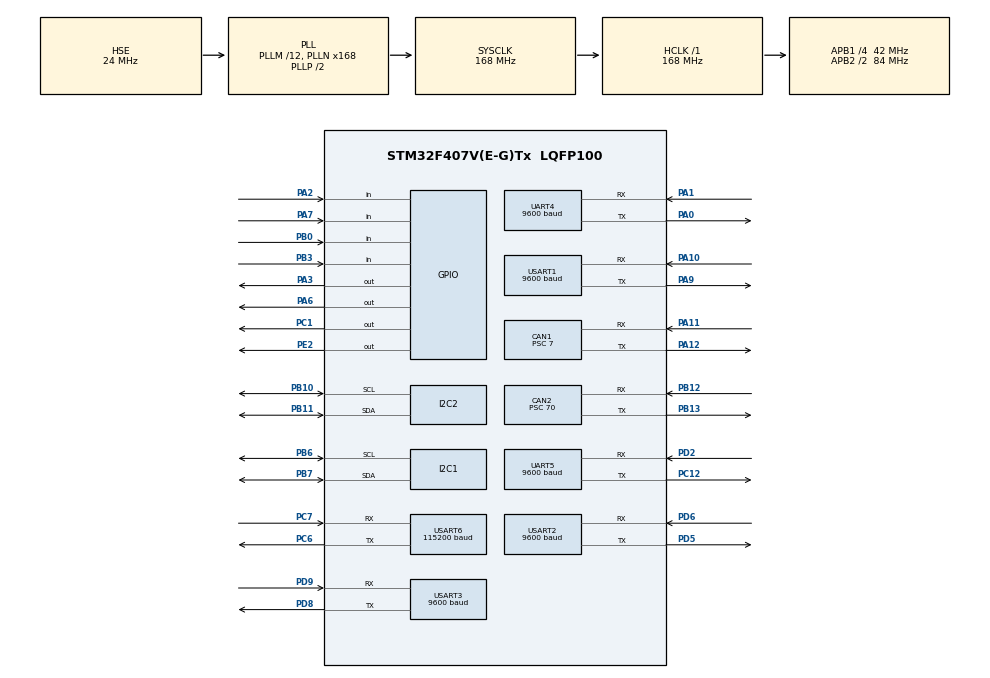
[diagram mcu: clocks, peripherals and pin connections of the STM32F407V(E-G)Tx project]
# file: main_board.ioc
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CAN1.BS1=CAN_BS1_3TQ
CAN1.BS2=CAN_BS2_2TQ
CAN1.CalculateBaudRate=999999
CAN1.CalculateTimeBit=1000
CAN1.CalculateTimeQuantum=166.66666666666669
CAN1.Prescaler=7
CAN2.BS1=CAN_BS1_3TQ
CAN2.BS2=CAN_BS2_2TQ
CAN2.CalculateBaudRate=100000
CAN2.CalculateTimeBit=10000
CAN2.CalculateTimeQuantum=1666.6666666666667
CAN2.Prescaler=70
Dma.Request0=USART2_RX
Dma.Request1=UART4_RX
Dma.Request2=UART5_RX
Dma.Request3=USART6_RX
Dma.Request4=USART3_RX
Dma.UART4_RX.1.Direction=DMA_PERIPH_TO_MEMORY
Dma.UART4_RX.1.FIFOMode=DMA_FIFOMODE_DISABLE
Dma.UART4_RX.1.Instance=DMA1_Stream2
Dma.UART4_RX.1.MemDataAlignment=DMA_MDATAALIGN_BYTE
Dma.UART4_RX.1.MemInc=DMA_MINC_ENABLE
Dma.UART4_RX.1.Mode=DMA_NORMAL
Dma.UART4_RX.1.PeriphDataAlignment=DMA_PDATAALIGN_BYTE
Dma.UART4_RX.1.PeriphInc=DMA_PINC_DISABLE
Dma.UART4_RX.1.Priority=DMA_PRIORITY_LOW
Dma.UART5_RX.2.Direction=DMA_PERIPH_TO_MEMORY
Dma.UART5_RX.2.FIFOMode=DMA_FIFOMODE_DISABLE
Dma.UART5_RX.2.Instance=DMA1_Stream0
Dma.UART5_RX.2.MemDataAlignment=DMA_MDATAALIGN_BYTE
Dma.UART5_RX.2.MemInc=DMA_MINC_ENABLE
Dma.UART5_RX.2.Mode=DMA_NORMAL
Dma.UART5_RX.2.PeriphDataAlignment=DMA_PDATAALIGN_BYTE
Dma.UART5_RX.2.PeriphInc=DMA_PINC_DISABLE
Dma.UART5_RX.2.Priority=DMA_PRIORITY_LOW
Dma.USART2_RX.0.Direction=DMA_PERIPH_TO_MEMORY
Dma.USART2_RX.0.FIFOMode=DMA_FIFOMODE_DISABLE
Dma.USART2_RX.0.Instance=DMA1_Stream5
Dma.USART2_RX.0.MemDataAlignment=DMA_MDATAALIGN_BYTE
Dma.USART2_RX.0.MemInc=DMA_MINC_ENABLE
Dma.USART2_RX.0.Mode=DMA_NORMAL
Dma.USART2_RX.0.PeriphDataAlignment=DMA_PDATAALIGN_BYTE
Dma.USART2_RX.0.PeriphInc=DMA_PINC_DISABLE
Dma.USART2_RX.0.Priority=DMA_PRIORITY_LOW
Dma.USART3_RX.4.Direction=DMA_PERIPH_TO_MEMORY
Dma.USART3_RX.4.FIFOMode=DMA_FIFOMODE_DISABLE
Dma.USART3_RX.4.Instance=DMA1_Stream1
Dma.USART3_RX.4.MemDataAlignment=DMA_MDATAALIGN_BYTE
Dma.USART3_RX.4.MemInc=DMA_MINC_ENABLE
Dma.USART3_RX.4.Mode=DMA_NORMAL
Dma.USART3_RX.4.PeriphDataAlignment=DMA_PDATAALIGN_BYTE
Dma.USART3_RX.4.PeriphInc=DMA_PINC_DISABLE
Dma.USART3_RX.4.Priority=DMA_PRIORITY_LOW
Dma.USART6_RX.3.Direction=DMA_PERIPH_TO_MEMORY
Dma.USART6_RX.3.FIFOMode=DMA_FIFOMODE_DISABLE
Dma.USART6_RX.3.Instance=DMA2_Stream1
Dma.USART6_RX.3.MemDataAlignment=DMA_MDATAALIGN_BYTE
Dma.USART6_RX.3.MemInc=DMA_MINC_ENABLE
Dma.USART6_RX.3.Mode=DMA_NORMAL
Dma.USART6_RX.3.PeriphDataAlignment=DMA_PDATAALIGN_BYTE
Dma.USART6_RX.3.PeriphInc=DMA_PINC_DISABLE
Dma.USART6_RX.3.Priority=DMA_PRIORITY_LOW
FREERTOS.Tasks01=defaultTask,24,128,StartDefaultTask,Default,NULL,Dynamic,NULL,NULL
Mcu.Family=STM32F4
Mcu.Name=STM32F407V(E-G)Tx
Mcu.Package=LQFP100
NVIC.CAN1_RX0_IRQn=true\:5\:0\:false\:false\:true\:true\:true\:true\:true
NVIC.CAN1_RX1_IRQn=true\:5\:0\:false\:false\:true\:true\:true\:true\:true
NVIC.CAN2_RX0_IRQn=true\:5\:0\:false\:false\:true\:true\:true\:true\:true
NVIC.CAN2_RX1_IRQn=true\:5\:0\:false\:false\:true\:true\:true\:true\:true
NVIC.DMA1_Stream0_IRQn=true\:5\:0\:false\:false\:true\:true\:false\:true\:true
NVIC.DMA1_Stream1_IRQn=true\:5\:0\:false\:false\:true\:true\:false\:true\:true
NVIC.DMA1_Stream2_IRQn=true\:5\:0\:false\:false\:true\:true\:false\:true\:true
NVIC.DMA1_Stream5_IRQn=true\:5\:0\:false\:false\:true\:true\:false\:true\:true
NVIC.DMA2_Stream1_IRQn=true\:5\:0\:false\:false\:true\:true\:false\:true\:true
NVIC.PriorityGroup=NVIC_PRIORITYGROUP_4
NVIC.TIM2_IRQn=true\:15\:0\:false\:false\:true\:false\:false\:true\:true
NVIC.TIM5_IRQn=true\:5\:0\:false\:false\:true\:true\:true\:true\:true
NVIC.TimeBase=TIM2_IRQn
NVIC.TimeBaseIP=TIM2
NVIC.UART4_IRQn=true\:5\:0\:true\:false\:true\:true\:true\:true\:true
NVIC.UART5_IRQn=true\:5\:0\:false\:false\:true\:true\:true\:true\:true
NVIC.USART2_IRQn=true\:5\:0\:false\:false\:true\:true\:true\:true\:true
NVIC.USART3_IRQn=true\:5\:0\:false\:false\:true\:true\:true\:true\:true
NVIC.USART6_IRQn=true\:5\:0\:false\:false\:true\:true\:true\:true\:true
PA0-WKUP.Mode=Asynchronous
PA0-WKUP.Signal=UART4_TX
PA1.Mode=Asynchronous
PA1.Signal=UART4_RX
PA10.Mode=Asynchronous
PA10.Signal=USART1_RX
PA11.Mode=CAN_Activate
PA11.Signal=CAN1_RX
PA12.Mode=CAN_Activate
PA12.Signal=CAN1_TX
PA13.Mode=Serial_Wire
PA13.Signal=SYS_JTMS-SWDIO
PA14.Mode=Serial_Wire
PA14.Signal=SYS_JTCK-SWCLK
PA2.Signal=GPIO_Input
PA3.Signal=GPIO_Output
PA6.Signal=GPIO_Output
PA7.Signal=GPIO_Input
PA9.Mode=Asynchronous
PA9.Signal=USART1_TX
PB0.Signal=GPIO_Input
PB10.Mode=I2C
PB10.Signal=I2C2_SCL
PB11.Mode=I2C
PB11.Signal=I2C2_SDA
PB12.Mode=CAN_Activate
PB12.Signal=CAN2_RX
PB13.Mode=CAN_Activate
PB13.Signal=CAN2_TX
PB3.Signal=GPIO_Input
PB6.Mode=I2C
PB6.Signal=I2C1_SCL
PB7.Mode=I2C
PB7.Signal=I2C1_SDA
PC1.PinState=GPIO_PIN_SET
PC1.Signal=GPIO_Output
PC12.Mode=Asynchronous
PC12.Signal=UART5_TX
PC14-OSC32_IN.Mode=LSE-External-Oscillator
PC14-OSC32_IN.Signal=RCC_OSC32_IN
PC15-OSC32_OUT.Mode=LSE-External-Oscillator
PC15-OSC32_OUT.Signal=RCC_OSC32_OUT
PC6.Mode=Asynchronous
PC6.Signal=USART6_TX
PC7.Mode=Asynchronous
PC7.Signal=USART6_RX
PD2.Mode=Asynchronous
PD2.Signal=UART5_RX
PD5.Mode=Asynchronous
PD5.Signal=USART2_TX
PD6.Mode=Asynchronous
PD6.Signal=USART2_RX
PD8.Mode=Asynchronous
PD8.Signal=USART3_TX
PD9.Mode=Asynchronous
PD9.Signal=USART3_RX
PE2.Signal=GPIO_Output
PH0-OSC_IN.Mode=HSE-External-Oscillator
PH0-OSC_IN.Signal=RCC_OSC_IN
PH1-OSC_OUT.Mode=HSE-External-Oscillator
PH1-OSC_OUT.Signal=RCC_OSC_OUT
ProjectManager.HeapSize=0x200
ProjectManager.StackSize=0x400
ProjectManager.TargetToolchain=MDK-ARM V5
RCC.48MHZClocksFreq_Value=84000000
RCC.AHBFreq_Value=168000000
RCC.APB1CLKDivider=RCC_HCLK_DIV4
RCC.APB1Freq_Value=42000000
RCC.APB1TimFreq_Value=84000000
RCC.APB2CLKDivider=RCC_HCLK_DIV2
RCC.APB2Freq_Value=84000000
RCC.APB2TimFreq_Value=168000000
RCC.CortexFreq_Value=168000000
RCC.HCLKFreq_Value=168000000
RCC.HSE_VALUE=24000000
RCC.HSI_VALUE=16000000
RCC.PLLM=12
RCC.PLLN=168
RCC.PLLSourceVirtual=RCC_PLLSOURCE_HSE
RCC.SYSCLKFreq_VALUE=168000000
RCC.SYSCLKSource=RCC_SYSCLKSOURCE_PLLCLK
RCC.VCOOutputFreq_Value=336000000
TIM5.Period=10
TIM5.Prescaler=84
UART4.BaudRate=9600
UART4.VirtualMode=Asynchronous
UART5.BaudRate=9600
UART5.VirtualMode=Asynchronous
USART1.BaudRate=9600
USART1.VirtualMode=VM_ASYNC
USART2.BaudRate=9600
USART2.VirtualMode=VM_ASYNC
USART3.BaudRate=9600
USART3.VirtualMode=VM_ASYNC
USART6.BaudRate=115200
USART6.VirtualMode=VM_ASYNC
VP_FREERTOS_VS_CMSIS_V2.Mode=CMSIS_V2
VP_SYS_VS_tim2.Mode=TIM2
VP_TIM5_VS_ClockSourceINT.Mode=Internal
board=custom

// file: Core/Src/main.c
/* USER CODE BEGIN Header */
/**
  ******************************************************************************
  * @file           : main.c
  * @brief          : Main program body
  ******************************************************************************
  * @attention
  *
  * Copyright (c) 2025 STMicroelectronics.
  * All rights reserved.
  *
  * This software is licensed under terms that can be found in the LICENSE file
  * in the root directory of this software component.
  * If no LICENSE file comes with this software, it is provided AS-IS.
  *
  ******************************************************************************
  */
/* USER CODE END Header */
#include "main.h"
#include "cmsis_os.h"
#include "can.h"
#include "dma.h"
#include "i2c.h"
#include "tim.h"
#include "usart.h"
#include "gpio.h"

/* USER CODE BEGIN Includes */
#include "jy901.h"
#include "ms5837_uart.h"
#include "sht30.h"
#include "stdio.h"
#include "serial.h"
#include "FreeRTOS.h"
#include "task.h"
#include "math.h"
#include "event_groups.h"
/* USER CODE END Includes */

void SystemClock_Config(void);
void MX_FREERTOS_Init(void);

/* USER CODE BEGIN 0 */

void can_motor_init();
void can_send(uint16_t id,uint8_t*data,int len);

int timer=0;
void timer_start()
{
	HAL_TIM_Base_Start_IT(&htim5);
	timer=0;
}

float timer_getperiod()
{
	//HAL_TIM_Base_Stop_IT(&htim5);
return (float)timer*10;//us
}
typedef struct{
int head;
int arm;
float stick_lx;
float stick_ly;
float stick_rx;
float stick_ry;
float cam;
float light;

}controler;

void can2_send(uint16_t id,uint8_t*data,int len);
void can2_init();
void can2_send_long(uint16_t id,uint8_t*data,int len);
EventGroupHandle_t xEventGroup;
#define BIT_UART2_RX_DONE   (EventBits_t) 0x00000001  // ???0: ??1????
#define BIT_UART4_RX_DONE   (EventBits_t) 0x00000002  // ???1: ??2????
#define ALL_BITS            (BIT_UART2_RX_DONE | BIT_UART4_RX_DONE)
int uart4itflag=0;
#define uart4_buffer_size 256
uint8_t sona4buffer[uart4_buffer_size];
	uint8_t sona4datalen;
uint8_t uart4_buffer[uart4_buffer_size]={0};
float time4=0;
float sona4len=0;
int test_count=0;
int uart4_flag=0;
uint8_t uart4_data[uart4_buffer_size];

int can2_flag=0;
typedef struct{
	int head;
float roll;
	float pitch;
	float yaw;
}jy901_att;
jy901_att att={.head=0xfd};
typedef struct
{
  int head;
  float roll;
  float pitch;
  float yaw;
  float current;
  float len;
} upline_pack;
upline_pack up = {.head = 0xfd};
void showarray(uint8_t*array,int len)
{
	for(int i=0;i<len;i++)
		printf("%02X",array[i]);
	printf("\n");
}

typedef struct
{
  int head;
  float current;
  float gain;
} cable_control;
cable_control cable_con = {.head = 0xf1, .current = 4.0};
typedef struct
{
	uint16_t id;
	uint8_t data[8];
	uint8_t flag;
}c620_rawdata;
typedef struct
{
	uint16_t id;
	float angle;
	float rate;
	float i;
	float tempature;
	uint8_t flag;
}c620_msg;
c620_rawdata motor_data;
c620_msg motor_msg;  //大
c620_msg motor_msg1; //小
float zero_angle=0;
float last_angle=0;
int first_flag=0;
float round_count=0;
int send_count=0;
void control_task()
{
	HAL_UART_Receive_DMA(&huart4, uart4_buffer, uart4_buffer_size);
 __HAL_UART_ENABLE_IT(&huart4, UART_IT_IDLE);

	while(1)
	{

		if(uart4_flag==1)
		{
		int i=0;
		for(;i<80;i++)
			{
		uint8_t ch;
				ch=uart4_data[i];
				if(ch==0xfb)
				{
					can2_send_long(0x400,uart4_data+i,sizeof(float)*10);
					break;
				}
				if(ch==0xfe)
				{
					can2_send_long(0x410,uart4_data+i,sizeof(int)*2);
					break;
				}
				if(ch==0xf1)
				{
				uint8_t*p=(uint8_t*)&cable_con;
					for(int j=0;j<3*4;j++)
					{
					p[j]=uart4_data[i+j];
					}
				}

			}
				//can2_send_long(0x400,uart4_data+i,sizeof(float)*10);
			uart4_flag=0;
		}
		float cable_len;
		float r=1;
		float angle=motor_msg1.angle-zero_angle;
		if(angle<0)
		{
			angle+=360;
		}
		cable_len=r*(angle+(round_count*2*3.14));
		if(send_count>50)
		{
			up.roll=0;
			up.pitch=0;
			up.yaw=0;
			up.current=cable_con.current;
			up.len=cable_len;
			HAL_UART_Transmit(&huart4,(uint8_t*)&up,sizeof(upline_pack),0xff);
			printf("len=%f\n",up.len);
			send_count=0;
		}
//		if(can2_flag)
//		{
//		HAL_UART_Transmit(&huart4,(uint8_t*)&att,sizeof(jy901_att),0xff);
//		showarray((uint8_t*)&att,4*4);
//			can2_flag=0;
//		}
		send_count++;
			vTaskDelay(20);
		}

}

void UART4_IT(void)
{
    // ????
    if (__HAL_UART_GET_FLAG(&huart4, UART_FLAG_IDLE))
    {
        __HAL_UART_CLEAR_IDLEFLAG(&huart4);
        // ? DMA,???
        HAL_UART_DMAStop(&huart4);
        uint16_t len = uart4_buffer_size- __HAL_DMA_GET_COUNTER(huart4.hdmarx);
			memcpy(uart4_data,uart4_buffer,len);
			if(uart4_flag==0)
				uart4_flag=1;
//			int i=0;
//			while(1)
//			{
//		uint8_t ch;
//				ch=uart4_data[i];
//				if(ch==0xfb)
//					break;
//				else
//					i++;
//			}
//			can2_send_long(0x400,uart4_data+i,sizeof(float)*8);
			//printf("%d\n",test_count);
//			for(int j=0;j<4*8;j++)
//				printf("%x",uart4_buffer[j]);
//				printf("\n");
//				printf("i=%d",i);
//				char str[20];
//				sprintf(str,"4\n");
//		HAL_UART_Transmit(&huart8,(uint8_t*)str,strlen(str),0xff);
//			for(int i=0;i<8;i++)
//			{
//			sprintf(str,"%x,",uart4_rx_buffer[i]);
//		HAL_UART_Transmit(&huart8,(uint8_t*)str,strlen(str),0xff);
//			}
//			sprintf(str,"\n");
//		HAL_UART_Transmit(&huart8,(uint8_t*)str,strlen(str),0xff);
//			printf("4\n");
//			for(int i=0;i<8;i++)
//			{
//			printf("%x,",uart4_rx_buffer[i]);
//
//			}
//      printf("\n");
			//float time=0;
				//time=sona_parse(uart4_rx_buffer,len);
			    __HAL_UART_ENABLE_IT(&huart4, UART_IT_IDLE);
			HAL_UART_Receive_DMA(&huart4, uart4_buffer, uart4_buffer_size);

    }

}

//void control_task()
//{
//	//can_init();
//	can_motor_init();
//	xEventGroup = xEventGroupCreate();
//		HAL_UART_Receive_DMA(&huart4, uart4_buffer,uart4_buffer_size);
//    __HAL_UART_ENABLE_IT(&huart4, UART_IT_IDLE);
//
//	timer_start();
//	while(1)
//	{
//uint8_t data[8]={0xfa};
//if(time4!=0)
//	printf("4=%f\n",time4);
//	can_send(0x01,data,8);
//time4=0;

//	timer=0;
//		//printf("working\n");
////vTaskDelay(pdMS_TO_TICKS(2000));
//EventBits_t uxReturnedBits;
//	uxReturnedBits = xEventGroupWaitBits(
//            xEventGroup,            // ???????
//           BIT_UART4_RX_DONE,               // ???????
//            pdTRUE,                 // ????????????
//            pdFALSE,                 // ????????? (???)
//            pdMS_TO_TICKS(1000)           // ?????,??????
//        );
////		if(uart2itflag==1||uart4itflag==1)
//////		//if((uxReturnedBits&BIT_UART2_RX_DONE)||(uxReturnedBits&BIT_UART4_RX_DONE))
////		{
////			//calc_pos(sona2len,sona4len,0/180*M_PI);
////			//printf("get\n");
////			printf("2=%f,4=%f\n",time2,time4);
////			//printf("2=%f\n",sona2len);
////			//printf("4=%f\n",sona4len);
////			uart2itflag=0;
////			uart4itflag=0;
////			//printf("%f,%f,%f\n",pos_x,pos_y,pos_z);
////		}

//
////vTaskDelay(pdMS_TO_TICKS(100));
//	}
//}

typedef struct{
	float kp;
	float ki;
	float kd;
	float last;
	float integrate;
}PID;

float pid_control(PID*pid,float delta)
{
	float out;
	//float max=10000;
	pid->integrate+=delta;
//	if(pid->integrate>max)
//	{
//		pid->integrate=max;
//	}
//	else if(pid->integrate<-max)
//		pid->integrate=-max;
	if(fabs(pid->integrate)<5)
		pid->integrate=0;
	if(delta*pid->last<0)
		pid->integrate=0;
	out=delta*pid->kp+(delta-pid->last)*pid->kd+pid->ki*pid->integrate;
	pid->last=delta;

	return out;

}

PID ipid={.kp=0.8,.ki=0.05,.kd=0};
PID vpid={.kp=0.02,.ki=0.0001,.kd=0.0001};//<-这一版相对不错 要配合1ms控制频率使用//PID vpid={.kp=0.004,.ki=0.001,.kd=0};
PID ipid1={.kp=1,.ki=0.01,.kd=0.1};
PID vpid1={.kp=0.02,.ki=0.0001,.kd=0.0001};
PID ppid={.kp=2,.ki=0.1,.kd=0};
uint32_t mailbox=0;
float motor_i[4];

void can_motor_init()
{
	CAN_FilterTypeDef filter;
	filter.FilterActivation=ENABLE;
	filter.FilterBank=1;
	filter.FilterFIFOAssignment=CAN_FilterFIFO0;
	filter.FilterIdHigh=0;
	filter.FilterIdLow=0;
	filter.FilterMaskIdHigh=0;
	filter.FilterMaskIdLow=0;
	filter.FilterMode=CAN_FILTERMODE_IDMASK;
	filter.FilterScale=CAN_FILTERSCALE_32BIT;
	HAL_CAN_ConfigFilter(&hcan1,&filter);
	HAL_CAN_ActivateNotification(&hcan1,CAN_IT_RX_FIFO0_MSG_PENDING);
	HAL_CAN_Start(&hcan1);

}
void can2_init()
{
	CAN_FilterTypeDef filter;
	filter.FilterActivation=ENABLE;
	filter.FilterBank=14;
	filter.FilterFIFOAssignment=CAN_FilterFIFO1;
	filter.FilterIdHigh=0;
	filter.FilterIdLow=0;
	filter.FilterMaskIdHigh=0;
	filter.FilterMaskIdLow=0;
	filter.FilterMode=CAN_FILTERMODE_IDMASK;
	filter.FilterScale=CAN_FILTERSCALE_32BIT;
	HAL_CAN_ConfigFilter(&hcan2,&filter);
	HAL_CAN_ActivateNotification(&hcan2,CAN_IT_RX_FIFO1_MSG_PENDING);
	HAL_CAN_Start(&hcan2);

}
void can2_send(uint16_t id,uint8_t*data,int len)
{

	CAN_TxHeaderTypeDef tx;
	tx.DLC=len;
	tx.ExtId=id;
	tx.StdId=id;
	tx.RTR=CAN_RTR_DATA;
	tx.IDE=CAN_ID_STD;
while (HAL_CAN_GetTxMailboxesFreeLevel(&hcan2) == 0)
    {
        //vTaskDelay(1);
    }
		HAL_CAN_AddTxMessage(&hcan2,&tx,data,&mailbox);
//		int re;
//	re=HAL_CAN_AddTxMessage(&hcan2,&tx,data,&mailbox);
//	while(re==HAL_BUSY||re==HAL_TIMEOUT)
//	{
//		HAL_CAN_AddTxMessage(&hcan2,&tx,data,&mailbox);
//	}
	for(int i=0;i<1000000;i++)
		{
		int a=0;
		a+=1;
		}
	//HAL_Delay(1);

}
void can2_send_long(uint16_t id,uint8_t*data,int len)
{
	uint8_t end[8]={0xfd};
	int count=len/8;
	int remain=len%8;
	uint8_t* p=data;
	int i=0;
	for(;i<count;i++)
		{
			can2_send(id+i,p,8);
			p+=8;
		}
		if(remain!=0)
		{can2_send(id+i,p,remain);
		i++;}
}
void can_motor_set_i()
{
	CAN_TxHeaderTypeDef tx;
	tx.DLC=8;
	tx.ExtId=0x200;
	tx.StdId=0x200;
	tx.RTR=CAN_RTR_DATA;
	tx.IDE=CAN_ID_STD;
	uint8_t temp[8];

	for(int i=0;i<4;i++)
	{
		temp[i*2]=(int16_t)(motor_i[i]/20*16384)>>8;
		temp[i*2+1]=(int16_t)(motor_i[i]/20*16384)&0xff;
		//temp[i]=0x01;
		//temp[i+1]=0x00;
	}
HAL_CAN_AddTxMessage(&hcan1,&tx,temp,&mailbox);

}
void can_send(uint16_t id,uint8_t*data,int len)
{

	CAN_TxHeaderTypeDef tx;
	tx.DLC=len;
	tx.ExtId=id;
	tx.StdId=id;
	tx.RTR=CAN_RTR_DATA;
	tx.IDE=CAN_ID_STD;

	HAL_CAN_AddTxMessage(&hcan1,&tx,data,&mailbox);

}

void HAL_CAN_RxFifo1MsgPendingCallback(CAN_HandleTypeDef *hcan)
{
	if(hcan->Instance==CAN2)
	{

		CAN_RxHeaderTypeDef rx;
		uint8_t data[8];
		HAL_CAN_GetRxMessage(&hcan2,CAN_RX_FIFO0,&rx,data);
		uint8_t*p=(uint8_t*)&att;
		for(int i=0;i<4;i++)
		{if(rx.StdId==(0x300+i))
		{
			memcpy(p+i*8,data,8);
		}
		}
		can2_flag=1;

		//printf("%f\n",motor_msg.i);
	}

}

void HAL_CAN_RxFifo0MsgPendingCallback(CAN_HandleTypeDef *hcan)
{if(hcan->Instance==CAN1)
	{
		motor_data.flag=1;
		CAN_RxHeaderTypeDef rx;
		uint8_t data[8];
		HAL_CAN_GetRxMessage(&hcan1,CAN_RX_FIFO0,&rx,data);
		if(rx.StdId==0x201)
		{motor_msg.angle=(float)(data[0]<<8|data[1])/8191*360;
		motor_msg.rate=(float)(int16_t)(data[2 ]<<8|data[3]);
		motor_msg.i=(float)((int16_t)(data[4]<<8|data[5]))/16384*20;
		motor_msg.tempature=(float)(int16_t)data[6];
		motor_msg.id=rx.StdId;
		}
		if(rx.StdId==0x203)
		{motor_msg1.angle=(float)(data[0]<<8|data[1])/8191*360;
		motor_msg1.rate=(float)(int16_t)(data[2 ]<<8|data[3]);
		motor_msg1.i=(float)((int16_t)(data[4]<<8|data[5]))/16384*20;
		motor_msg1.tempature=(float)(int16_t)data[6];
		motor_msg1.id=rx.StdId;
			if(first_flag==1)
			{if(motor_msg1.angle-last_angle>200)
			{
			round_count+=1;
			}
			if(motor_msg1.angle-last_angle<-200)
			{
			round_count-=1;
			}
			zero_angle=motor_msg1.angle;
			}
			//printf("%f\n",motor_msg1.angle-last_angle);
			//printf("%f\n",round_count);
			last_angle=motor_msg1.angle;
			first_flag=1;

		}

		//printf("%f\n",motor_msg.i);
	}
//	if(hcan->Instance==CAN2)
//	{
//
//		CAN_RxHeaderTypeDef rx;
//		uint8_t data[8];
//		HAL_CAN_GetRxMessage(&hcan2,CAN_RX_FIFO0,&rx,data);
//		uint8_t*p=(uint8_t*)&att;
//		for(int i=0;i<4;i++)
//		{if(rx.StdId==(0x300+i))
//		{
//			memcpy(p+i*8,data,8);
//		}
//		}
//		can2_flag=1;

		//printf("%f\n",motor_msg.i);
//	}

}

void key_init()
{

HAL_GPIO_WritePin(GPIOA,GPIO_PIN_6,GPIO_PIN_RESET);
HAL_GPIO_WritePin(GPIOA,GPIO_PIN_3,GPIO_PIN_RESET);

}
int get_key()
{
if((!HAL_GPIO_ReadPin(GPIOA,GPIO_PIN_7))||(!HAL_GPIO_ReadPin(GPIOB,GPIO_PIN_0)))
return 1;
else if((!HAL_GPIO_ReadPin(GPIOA,GPIO_PIN_2))||(!HAL_GPIO_ReadPin(GPIOB,GPIO_PIN_3)))
return 2;
else
return 0;
}
void motor_task()
{
	can_motor_init();
	key_init();
	float overflag=0;
	float max=15;
  while(1)
  {
	float target1=-2400;
  float target0=-480;
		float max_target1=-3600;
		float max_target0=-720;
  float itar0,itar1;
  float out0;
  float out1;
	int key=get_key();
float tari=1.0;
		int manual_flag=0;
		float tar_pos=90;
		if(cable_con.gain!=0)
		{
		manual_flag=0;
		if(cable_con.gain>0)
		{
			key=2;
		}
		else if(cable_con.gain<0)
		{
		key=1;
		}
		}
		else
		{
			manual_flag=1;
		}
		//printf("%f,%f\n",cable_con.current,cable_con.gain);
		if(manual_flag)
		{
			target0=-480;
			target1=-2400;
		}
		else
		{
		target0=fabs(cable_con.gain)*max_target0;
		target1=fabs(cable_con.gain)*max_target1;
		}

if(key==1)//收
  {
		if(overflag==0)
		{
			//float outp=pid_control(&ppid,tar_pos-motor_msg.angle);
			out0=pid_control(&vpid,target0-motor_msg.rate);
		if(out0>max)
			out0=max;
		if(out0<-max)
			out0=-max;
		//out0=pid_control(&ipid,tari-motor_msg.i);
			motor_i[0]=out0;

			if(fabs(motor_msg.i)>19)
			{overflag=1;
				motor_i[0]=0;
			}

		}
	can_motor_set_i();

}
else if(key==2)
  {
		if(overflag==0)
		{
 out1=pid_control(&vpid1,target1-motor_msg1.rate);
		if(out1>max)
			out1=max;
		if(out1<-max)
			out1=-max;

		motor_i[2]=out1;
	can_motor_set_i();
  }
}
  else{
		overflag=0;
	//float o1,o0;
  //o1=pid_control(&vpid1,-motor_msg1.i);
  //o0=pid_control(&vpid0,-motor_msg.i);
  //motor_i[0]=o0;
	//motor_i[2]=o1;
    	//printf("%f,%f\n",o1,o0);
	//	can_motor_set_i();
//		out0=pid_control(&vpid,-360-motor_msg.rate);
//		if(out0>5)
//			out0=5;
//		if(out0<-5)
//			out0=-5;
		tari=cable_con.current;
		out0=pid_control(&ipid,tari-motor_msg.i);
			motor_i[0]=out0;
		//motor_i[0]=0;
		motor_i[2]=0;
		can_motor_set_i();
  }
//printf("%f,%f,%f,%f\n",motor_msg.i,motor_msg.rate,motor_msg.angle,out0);

	vTaskDelay(pdMS_TO_TICKS(1));
}

}
	#define uart5rxsize 64
uint8_t uart5rxbuffer[uart5rxsize];
uint8_t uart5data[uart5rxsize];
uint8_t uart5datalen=0;
int uart5itflag=0;
int uart5parse(uint8_t*data,int len)
{
int p=0;
int ch;
while(p<len)
{
ch=data[p];
if(data[p]==0xac)
{
  if(data[p+1]==0xbc)
  {
    return 0;

  }
}
p++;

}
return 1;

}
//用于与剩下的那个声呐测试
//void UART5_IT(void)
//{
//    // 空闲检测
//    if (__HAL_UART_GET_FLAG(&huart5, UART_FLAG_IDLE))
//    {

//        __HAL_UART_CLEAR_IDLEFLAG(&huart5);
//        HAL_UART_DMAStop(&huart5);
//        uint16_t len = uart5rxsize - __HAL_DMA_GET_COUNTER(huart5.hdmarx);
//        uart5datalen=len;
//        //if(uart3itflag==0)
//        {memcpy(uart5data,uart5rxbuffer,len);
//          //uart3itflag=1;
//          int flag=2;
//		flag=uart5parse(uart5data,len);
//if(flag==0)
//{
//  uint8_t data[7]={0x02,0x6a,0x07,0x01,0xff,0x3f,0xb2};
//	HAL_UART_Transmit(&huart4,data,7,0xff);

//}

//        }

//       HAL_UART_Receive_DMA(&huart5,uart5rxbuffer,uart5rxsize );
//    }
//}

//wifi
//void UART5_IT(void)
//{
//    // 空闲检测
//    if (__HAL_UART_GET_FLAG(&huart5, UART_FLAG_IDLE))
//    {

//        __HAL_UART_CLEAR_IDLEFLAG(&huart5);
//        HAL_UART_DMAStop(&huart5);
//        uint16_t len = uart5rxsize - __HAL_DMA_GET_COUNTER(huart5.hdmarx);
//
//			int i=0;
//			for(;i<len;i++)
//			{
//			int ch=uart5rxbuffer[i];
//				if(ch==0xfd)
//				{
//				HAL_UART_Transmit(&huart4,uart5rxbuffer+i,16,0xff);
//				break;
//				}
//				else
//					i++;

//			}
//
//       HAL_UART_Receive_DMA(&huart5,uart5rxbuffer,uart5rxsize );
//    }
//}
void main_task()
{

		//can_motor_init();
     HAL_UART_Receive_DMA(&huart5, uart5rxbuffer, uart5rxsize);
    __HAL_UART_ENABLE_IT(&huart5, UART_IT_IDLE);
while(1)
{
	//uint8_t pack[2]={0xac,0xbc};
	//HAL_UART_Transmit(&huart5,pack,2,0xff);
  //uint8_t data[8]={0xfa};
//can_send(0x01,data,8);

vTaskDelay(pdMS_TO_TICKS(500));
}

}

/* USER CODE END 0 */

int main(void)
{

  /* MCU Configuration--------------------------------------------------------*/

  /* Reset of all peripherals, Initializes the Flash interface and the Systick. */
  HAL_Init();

  /* Configure the system clock */
  SystemClock_Config();

  /* Initialize all configured peripherals */
  MX_GPIO_Init();
  MX_DMA_Init();
  MX_I2C1_Init();
  MX_I2C2_Init();
  MX_USART1_UART_Init();
  MX_USART2_UART_Init();
  MX_USART3_UART_Init();
  MX_USART6_UART_Init();
  MX_UART4_Init();
  MX_UART5_Init();
  MX_CAN1_Init();
  MX_TIM5_Init();
  MX_CAN2_Init();
  /* USER CODE BEGIN 2 */
	can_motor_init();
	HAL_GPIO_WritePin(GPIOC,GPIO_PIN_1,1);
	key_init();
	can2_init();

//	controler test={.stick_lx=0,.stick_rx=0,.head=0xfb,.arm=0,.stick_ly=0,.stick_ry=0,.light=0,.cam=0};
//	while(1)
//	{
//	can2_send_long(0x400,(uint8_t*)&test,sizeof(controler));
//		HAL_Delay(10);

//	}

	//HAL_UART_Receive_DMA(&huart5, uart5rxbuffer, uart5rxsize);
    // 使能空闲中断
    //__HAL_UART_ENABLE_IT(&huart5, UART_IT_IDLE);
	// wire test
//	while(1)
//	{
//		int key=get_key();
//		float tar_p=90;
//		float target=1200;
//		float o;
//		float io;
//		float max=10;
//	if(key==1)
//	{
//		float outp=pid_control(&ppid,tar_p-motor_msg.angle);
//  o=pid_control(&vpid,outp-motor_msg.rate);
//	//	if(o>max)
//		//	o=max;
//		//if(o<-max)
//			//o=-max;
//		motor_i[0]=-10;
//	can_motor_set_i();
//		//printf("%f,%f,%f\n",(target)-motor_msg.i,motor_msg.i,o);
//
//	}
//	printf("%f,%f,%f,%f\n",(target)-motor_msg.rate,motor_msg.rate,o,motor_msg.i);
//	HAL_Delay(50);
//
//}

	//HAL_GPIO_WritePin(GPIOE,GPIO_PIN_2,GPIO_PIN_RESE+T);
	//JY901_UART_Init();
//	Parser4_Init();
//	sht30_Init();
//	serial_init();
//jy901_test();

//for(int i=0;i<8;i++)
//	{
//		pwm[i]=1500;
//	}
//	pwm[8]=1000;
//	pwm[9]=1000;
//	move_flag=6;
//	light_flag=2;
//	y_flag=4;
//	target_yaw=yaw_start;
//	msg[0]=0x01fe;
//		for(int i=0;i<10;i++)
//		{
//		msg[i+1]=pwm[i];
//		}
//		uint8_t*p =(uint8_t*)msg;
		//HAL_UART_Transmit(&hua rt6,(uint8_t*)msg,22,100);

//can test
//	can_motor_init();
//		CAN_TxHeaderTypeDef tx;
//	tx.DLC=8;
//	tx.ExtId=0x200;
//	tx.StdId=0x200;
//	tx.RTR=CAN_RTR_DATA;
//	tx.IDE=CAN_ID_STD;
//	uint8_t temp[8]={0x01,0x02,0x03};
//
//while(1)
//{
//	HAL_CAN_AddTxMessage(&hcan1,&tx,temp,&mailbox);
//
//	HAL_Delay(1000);
//}

//HAL_GPIO_WritePin(GPIOA,GPIO_PIN_6,GPIO_PIN_SET);

/*key_init();
while(1)
{
	if(get_key(2))//||HAL_GPIO_ReadPin(GPIOB,GPIO_PIN_3))
	{
	printf("2\n");
	}
	if(get_key(1))//||HAL_GPIO_ReadPin(GPIOB,GPIO_PIN_0))
	{
	printf("1\n");
	}
HAL_Delay(1000);
}
	*/

//
//		ver 1.0
//				float vdelta=target-motor_msg.rate;
//
//		float vout=motor_pid(&vpid,vdelta);
//		int16_t outi=(int16_t)vout;
//		if(outi<0)
//			outi=0;
//		printf("%x\n",outi);
//		CAN_TxHeaderTypeDef tx;
//	tx.DLC=8;
//	tx.ExtId=0x200;
//	tx.StdId=0x200;
//	tx.RTR=CAN_RTR_DATA;
//	tx.IDE=CAN_ID_STD;
//	uint8_t temp[8];
//
//	for(int i=0;i<4;i++)
//	{
//		temp[i*2]=(int16_t)(outi)>>8;
//		temp[i*2+1]=(int16_t)(outi)&0xff;
//		//temp[i]=0x01;
//		//temp[i+1]=0x00;
//	}
//	HAL_CAN_AddTxMessage(&hcan1,&tx,temp,&mailbox);

//float delta;
//delta=target-motor_msg.rate;
//float out=motor_pid(&pid,delta);
//motor_i[0]=out;
//motor_i[1]=out;
//printf("%f,%f,%f\n",delta,out,motor_msg.rate);
//can_motor_set_i();

//float delta;
//delta=target_i-motor_msg.i;
//float out=motor_pid(&ipid,delta);
//motor_i[0]=out;
//motor_i[1]=out;
//printf("%f,%f,%f\n",delta,out,motor_msg.i*10);
//can_motor_set_i();

//float delta;
//delta=target-motor_msg.rate;
//float out=motor_pid(&pid,delta);
//float iout=motor_pid(&ipid,out-motor_msg.i);
//motor_i[0]=iout;

/*
float delta1;
delta1=target1-motor_msg1.rate;
float out1=motor_pid(&pid1,delta1);
float iout1=motor_pid(&ipid1,out1-motor_msg1.i);
motor_i[2]=iout1;
printf("%f,%f,%f\n",motor_msg.i,motor_msg.rate,motor_msg.angle);
//printf("%f,%f,%f\n",delta,out,motor_msg1.i);
can_motor_set_i();

		HAL_Delay(10);
		*/

  /* USER CODE END 2 */

  /* Init scheduler */
  osKernelInitialize();

  /* Call init function for freertos objects (in cmsis_os2.c) */
  MX_FREERTOS_Init();

  /* Start scheduler */
  osKernelStart();

  /* We should never get here as control is now taken by the scheduler */

  /* Infinite loop */
  while (1)
  {

  }
}

void SystemClock_Config(void)
{
  RCC_OscInitTypeDef RCC_OscInitStruct = {0};
  RCC_ClkInitTypeDef RCC_ClkInitStruct = {0};

  /** Configure the main internal regulator output voltage
  */
  __HAL_RCC_PWR_CLK_ENABLE();
  __HAL_PWR_VOLTAGESCALING_CONFIG(PWR_REGULATOR_VOLTAGE_SCALE1);

  /** Initializes the RCC Oscillators according to the specified parameters
  * in the RCC_OscInitTypeDef structure.
  */
  RCC_OscInitStruct.OscillatorType = RCC_OSCILLATORTYPE_HSE;
  RCC_OscInitStruct.HSEState = RCC_HSE_ON;
  RCC_OscInitStruct.PLL.PLLState = RCC_PLL_ON;
  RCC_OscInitStruct.PLL.PLLSource = RCC_PLLSOURCE_HSE;
  RCC_OscInitStruct.PLL.PLLM = 12;
  RCC_OscInitStruct.PLL.PLLN = 168;
  RCC_OscInitStruct.PLL.PLLP = RCC_PLLP_DIV2;
  RCC_OscInitStruct.PLL.PLLQ = 4;
  if (HAL_RCC_OscConfig(&RCC_OscInitStruct) != HAL_OK)
  {
    Error_Handler();
  }

  /** Initializes the CPU, AHB and APB buses clocks
  */
  RCC_ClkInitStruct.ClockType = RCC_CLOCKTYPE_HCLK|RCC_CLOCKTYPE_SYSCLK
                              |RCC_CLOCKTYPE_PCLK1|RCC_CLOCKTYPE_PCLK2;
  RCC_ClkInitStruct.SYSCLKSource = RCC_SYSCLKSOURCE_PLLCLK;
  RCC_ClkInitStruct.AHBCLKDivider = RCC_SYSCLK_DIV1;
  RCC_ClkInitStruct.APB1CLKDivider = RCC_HCLK_DIV4;
  RCC_ClkInitStruct.APB2CLKDivider = RCC_HCLK_DIV2;

  if (HAL_RCC_ClockConfig(&RCC_ClkInitStruct, FLASH_LATENCY_5) != HAL_OK)
  {
    Error_Handler();
  }
}

void HAL_TIM_PeriodElapsedCallback(TIM_HandleTypeDef *htim)
{
  /* USER CODE BEGIN Callback 0 */
if(htim->Instance==TIM5)
{

	timer++;
}

  /* USER CODE END Callback 0 */
  if (htim->Instance == TIM2) {
    HAL_IncTick();
  }
}

void Error_Handler(void)
{
  __disable_irq();
  while (1)
  {
  }
}

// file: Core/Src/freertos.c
/* USER CODE BEGIN Header */
/**
  ******************************************************************************
  * File Name          : freertos.c
  * Description        : Code for freertos applications
  ******************************************************************************
  * @attention
  *
  * Copyright (c) 2026 STMicroelectronics.
  * All rights reserved.
  *
  * This software is licensed under terms that can be found in the LICENSE file
  * in the root directory of this software component.
  * If no LICENSE file comes with this software, it is provided AS-IS.
  *
  ******************************************************************************
  */
/* USER CODE END Header */

#include "FreeRTOS.h"
#include "task.h"
#include "main.h"
#include "cmsis_os.h"

/* USER CODE BEGIN Includes */
#include "jy901.h"
#include "ms5837_uart.h"
#include "sht30.h"
/* USER CODE END Includes */

/* Definitions for defaultTask */
osThreadId_t defaultTaskHandle;
const osThreadAttr_t defaultTask_attributes = {
  .name = "defaultTask",
  .stack_size = 128 * 4,
  .priority = (osPriority_t) osPriorityNormal,
};

/* USER CODE BEGIN FunctionPrototypes */
osThreadId_t jy901TaskHandle;
const osThreadAttr_t jy901Task_attributes = {
  .name = "jy901Task",
  .stack_size = 128 * 4,
  .priority = (osPriority_t) osPriorityNormal,
};
osThreadId_t ms5837TaskHandle;
const osThreadAttr_t ms5837Task_attributes = {
  .name = "ms5837Task",
  .stack_size = 128 * 4,
  .priority = (osPriority_t) osPriorityNormal,
};
osThreadId_t sht30TaskHandle;
const osThreadAttr_t sht30Task_attributes = {
  .name = "sht30Task",
  .stack_size = 128 * 4,
  .priority = (osPriority_t) osPriorityNormal,
};
osThreadId_t mainTaskHandle;
const osThreadAttr_t mainTask_attributes = {
  .name = "mainTask",
  .stack_size = 128 * 4,
  .priority = (osPriority_t) osPriorityNormal,
};
osThreadId_t motorTaskHandle;
const osThreadAttr_t motorTask_attributes = {
  .name = "motorTask",
  .stack_size = 128 * 4,
  .priority = (osPriority_t) osPriorityNormal,
};
osThreadId_t controlTaskHandle;
const osThreadAttr_t controlTask_attributes = {
  .name = "controlTask",
  .stack_size = 128 * 4,
  .priority = (osPriority_t) osPriorityNormal,
};
/* USER CODE END FunctionPrototypes */

void StartDefaultTask(void *argument);

void MX_FREERTOS_Init(void); /* (MISRA C 2004 rule 8.1) */

void MX_FREERTOS_Init(void) {

  /* Create the thread(s) */
  /* creation of defaultTask */
  defaultTaskHandle = osThreadNew(StartDefaultTask, NULL, &defaultTask_attributes);

  /* USER CODE BEGIN RTOS_THREADS */
  /* add threads, ... */
	//jy901TaskHandle = osThreadNew(jy901_task, NULL, &jy901Task_attributes);
	//ms5837TaskHandle = osThreadNew(ms5837_task, NULL, &ms5837Task_attributes);
	//sht30TaskHandle = osThreadNew(sht30_task, NULL, &sht30Task_attributes);
	//mainTaskHandle = osThreadNew(main_task, NULL, &mainTask_attributes);
	motorTaskHandle =osThreadNew(motor_task, NULL, &motorTask_attributes);
	controlTaskHandle =osThreadNew(control_task, NULL, &controlTask_attributes);
  /* USER CODE END RTOS_THREADS */

}

void StartDefaultTask(void *argument)
{
  for(;;)
  {
    osDelay(1);
  }
}
